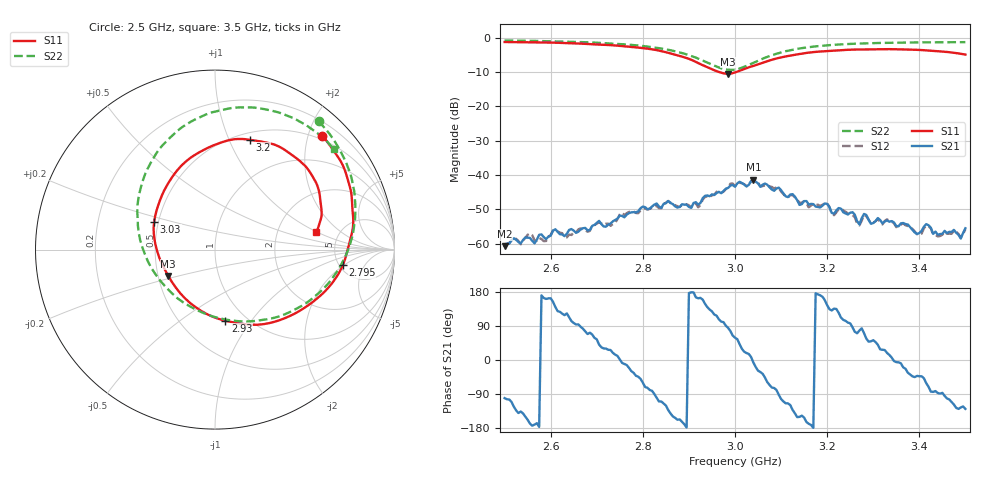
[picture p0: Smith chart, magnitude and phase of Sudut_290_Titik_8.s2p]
# Hz S RI R 50
! CMT, C1220, 16058040, 17.2.0/1
! Date: 15/08/2018 09:58:23
! Data: Format (Calibration Info)
! Freq  S11: Re/Im (F2)  S21: Re/Im (F2)  S12: Re/Im (F2)  S22: Re/Im (F2)
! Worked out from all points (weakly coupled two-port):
!   201 points, 2.5 GHz to 3.5 GHz, reference 50 ohm
!   highest |S21| = -41.31 dB at 3.04 GHz (marker M1); lowest = -60.8 dB at 2.5 GHz (marker M2)
!   lowest |S11| = -10.5 dB at 2.985 GHz (marker M3), VSWR 1.85, Z = 28.3 - j9.08 ohm
!   |S11| at or under -10 dB: 2.967 GHz to 3.001 GHz (34.95 MHz wide, 1.17 % of centre)
!   |S22| runs from -9.3 to -0.7 dB; largest |S21 - S12| = 0.00069
!   S11 on the Smith chart (normalised r, x): 2.5 GHz: 0.43, +2.25; 2.795 GHz: 5.36, -1.91; 2.93 GHz: 0.80, -0.76; 3.03 GHz: 0.47, +0.17; 3.2 GHz: 0.57, +1.19; 3.5 GHz: 3.37, +0.96
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2.5e9  0.5974 0.6344  -0.000169 -0.000901  -0.000153 -0.000982  0.5773 0.7138
2.67e9  0.7585 0.319  0.000216 0.00166  0.000303 0.00156  0.7475 0.4408
2.795e9  0.7118 -0.0867  0.00212 -0.0025  0.00194 -0.00234  0.7656 0.0745
2.835e9  0.6099 -0.2354  -0.00116 -0.00329  -0.000924 -0.00315  0.7042 -0.0812
2.905e9  0.2349 -0.4187  -0.00332 8.13e-05  -0.00338 0.000268  0.4217 -0.3457
2.93e9  0.0574 -0.3961  -0.0043 0.00164  -0.00417 0.00139  0.2522 -0.3936
2.985e9  -0.2605 -0.1462  0.00059 0.00647  0.000307 0.00668  -0.1743 -0.296
3e9  -0.3107 -0.0439  0.00349 0.00577  0.00385 0.0057  -0.2737 -0.209
3.03e9  -0.339 0.1544  0.00693 0.00197  0.00698 0.00195  -0.4042 0.0106
3.04e9  -0.3263 0.2159  0.00853 -0.00106  0.0087 -0.000856  -0.4249 0.0928
3.11e9  -0.1185 0.5234  -0.00201 -0.00445  -0.00202 -0.00441  -0.312 0.5582
3.17e9  0.0981 0.6134  -0.00376 -6.03e-05  -0.00378 -0.000296  -0.0735 0.7426
3.2e9  0.1924 0.6118  -0.00309 0.0022  -0.00304 0.00237  0.0391 0.7775
3.215e9  0.24 0.6046  -0.00195 0.0019  -0.00173 0.00194  0.092 0.7885
3.255e9  0.3472 0.5784  0.000181 0.00286  0.000292 0.00258  0.2175 0.7913
3.27e9  0.3815 0.5602  0.000402 0.00186  0.000369 0.0018  0.2607 0.7852
3.28e9  0.4034 0.5453  0.000886 0.00256  0.000806 0.0025  0.2872 0.7801
3.295e9  0.4348 0.5227  0.00127 0.00147  0.00131 0.00148  0.3241 0.7721
3.335e9  0.5077 0.4606  0.00203 0.000481  0.00211 0.000297  0.4139 0.7419
3.475e9  0.5858 0.1574  -0.000729 -0.00141  -0.000635 -0.0014  0.6337 0.5915
3.49e9  0.574 0.1199  -0.000684 -0.000965  -0.000779 -0.000946  0.6517 0.5721
3.5e9  0.5631 0.0956  -0.00105 -0.0013  -0.00114 -0.00115  0.6623 0.5601
